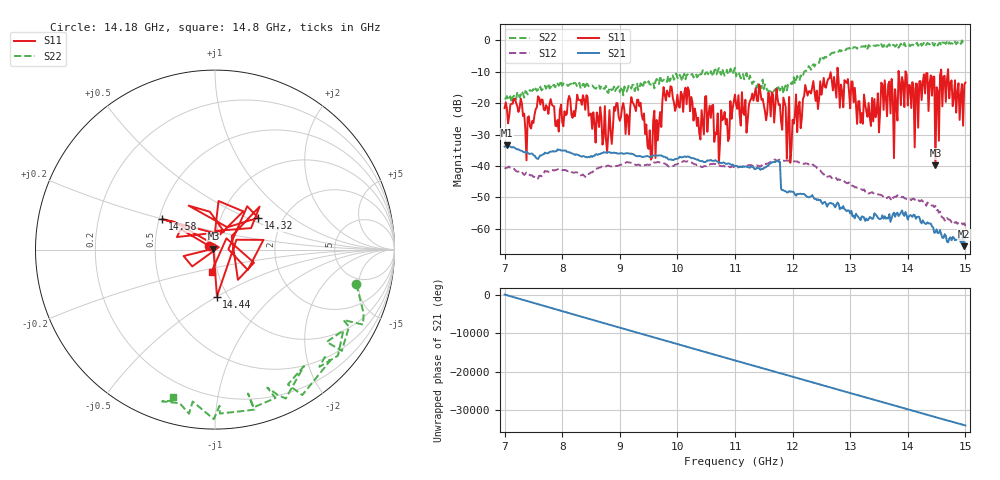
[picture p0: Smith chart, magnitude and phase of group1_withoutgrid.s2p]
! 4/11/2025 3:16:21 PM
! C:\ANRITSUVNA\LELEC2350\LAB1_2025\GROUP1_WITHOUTGRID.S2P
! CHANNEL.1
! TR.MEASUREMENT
! CORRECTED.DATA
! RF.CORRECTION: FULL.TWO.PORT.CAL.PORT.1.2
! AVERAGING.OFF
! IF.BANDWIDTH: 300HZ
! SWEEPTYPE:  FREQ.SWEEP(Linear)
! Reference Plane Port Info
! PORT:  PORT1  PORT2
! DISTANCE:  0  m  0  m
! TIME:  0  s  0  s
! PHASE.OFFSET:  0 °  0 °
! LOSS:  0  dB  0  dB
! REF.LOSS:  0  dB  0  dB
! REF.FREQ:  0  Hz  0  Hz
! Power Info
! POWER:  5  dBm  5  dBm
! EFF.POWER:  5  dBm  5  dBm
# GHZ S RI R 50.0
! FREQ.GHZ  S11RE  S11IM  S21RE  S21IM  S12RE  S12IM  S22RE  S22IM
!; PortSelection: Port_12
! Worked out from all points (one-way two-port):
!   401 points, 7 GHz to 15 GHz, reference 50 ohm
!   highest |S21| = -33.39 dB at 7.04 GHz (marker M1); lowest = -65.5 dB at 14.98 GHz (marker M2)
!   lowest |S11| = -39.8 dB at 14.48 GHz (marker M3), VSWR 1.02, Z = 49.1 + j0.485 ohm
!   |S11| at or under -10 dB: start of sweep to 12.78 GHz; 12.79 GHz to 13.84 GHz (1.054 GHz wide, 7.92 % of centre); 13.96 GHz to 14.57 GHz (610.4 MHz wide, 4.28 % of centre)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
!   |S22| runs from -19.9 to -0.1 dB; largest |S21 - S12| = 0.012
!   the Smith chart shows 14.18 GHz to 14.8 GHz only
!   S11 on the Smith chart (normalised r, x): 14.18 GHz: 0.93, +0.04; 14.32 GHz: 1.50, +0.58; 14.44 GHz: 0.89, -0.50; 14.58 GHz: 0.52, +0.20; 14.8 GHz: 0.94, -0.23
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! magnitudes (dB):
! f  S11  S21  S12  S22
! 7 GHz  -21.6  -33.9  -40.9  -18.6
! 7.04 GHz  -21.8  -33.4  -40.6  -17.8
! 8.34 GHz  -20.5  -37.0  -42.9  -15.1
! 8.74 GHz  -21.0  -35.7  -40.1  -15.4
! 9.22 GHz  -19.7  -36.2  -39.1  -14.2
! 9.52 GHz  -28.6  -37.2  -39.6  -14.0
! 9.68 GHz  -26.6  -36.6  -38.8  -14.0
! 9.86 GHz  -18.0  -37.9  -40.1  -13.1
! 10.7 GHz  -23.3  -38.7  -39.8  -9.9
! 11 GHz  -17.3  -40.0  -40.7  -8.8
! 11.74 GHz  -18.7  -38.3  -38.3  -14.3
! 11.94 GHz  -18.1  -48.0  -38.4  -14.1
! 12.34 GHz  -15.0  -49.3  -39.5  -8.1
! 13.68 GHz  -13.2  -55.3  -49.9  -1.3
! 14.18 GHz  -27.8  -56.1  -50.7  -1.8
! 14.32 GHz  -10.5  -58.4  -52.6  -1.5
! 14.44 GHz  -11.6  -59.5  -52.5  -1.4
! 14.48 GHz  -39.8  -61.0  -52.7  -0.7
! 14.58 GHz  -9.4  -61.7  -55.8  -1.7
! 14.8 GHz  -18.2  -62.8  -57.7  -1.4
! 14.98 GHz  -14.3  -65.5  -58.2  -0.9
! 15 GHz  -13.5  -64.8  -59.1  -0.8
